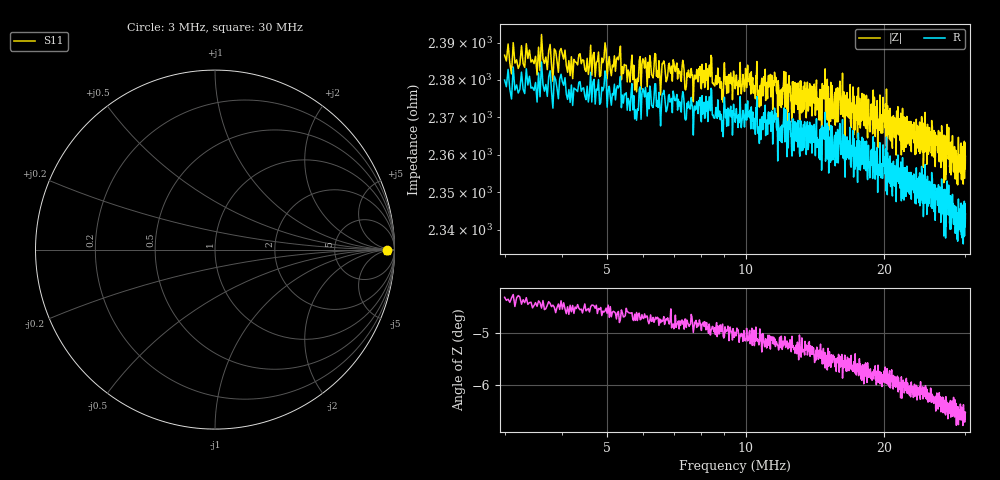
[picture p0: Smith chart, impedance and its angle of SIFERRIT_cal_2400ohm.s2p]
# HZ S RI R 50
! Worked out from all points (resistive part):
!   1023 points, 3 MHz to 30 MHz, reference 50 ohm
!   read as one part in series: R = 2.38 kohm at 3.132 MHz
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3000000  0.9567 -0.000909  0.0401 0.0029  0 0  0 0
3158514  0.9599 -0.000247  0.0401 0.00302  0 0  0 0
7517649  0.9603 -0.00244  0.0402 0.00325  0 0  0 0
8865018  0.9602 -0.00237  0.0402 0.00335  0 0  0 0
1.008029e7  0.9611 -0.00524  0.0402 0.0034  0 0  0 0
1.058225e7  0.9594 -0.00143  0.0401 0.00343  0 0  0 0
1.113705e7  0.9588 -0.00234  0.0402 0.00355  0 0  0 0
1.140124e7  0.961 -0.00587  0.0402 0.00346  0 0  0 0
1.200888e7  0.9602 -0.00436  0.0403 0.00359  0 0  0 0
1.274861e7  0.9601 -0.00442  0.0403 0.0036  0 0  0 0
1.293354e7  0.9591 -0.00268  0.0402 0.00364  0 0  0 0
1.348834e7  0.961 -0.00578  0.0402 0.00353  0 0  0 0
1.417524e7  0.9605 -0.0038  0.0403 0.0037  0 0  0 0
1.446585e7  0.9608 -0.00639  0.0403 0.00361  0 0  0 0
1.610382e7  0.9606 -0.00599  0.0403 0.00369  0 0  0 0
1.650011e7  0.9593 -0.00497  0.0403 0.00383  0 0  0 0
1.834944e7  0.96 -0.00642  0.0402 0.00402  0 0  0 0
1.877214e7  0.9595 -0.006  0.0402 0.00392  0 0  0 0
1.945904e7  0.9598 -0.00771  0.0403 0.00392  0 0  0 0
2.101776e7  0.9595 -0.00729  0.0403 0.00408  0 0  0 0
2.550899e7  0.96 -0.00886  0.0404 0.00423  0 0  0 0
3.000022e7  0.9596 -0.0102  0.0404 0.00443  0 0  0 0
